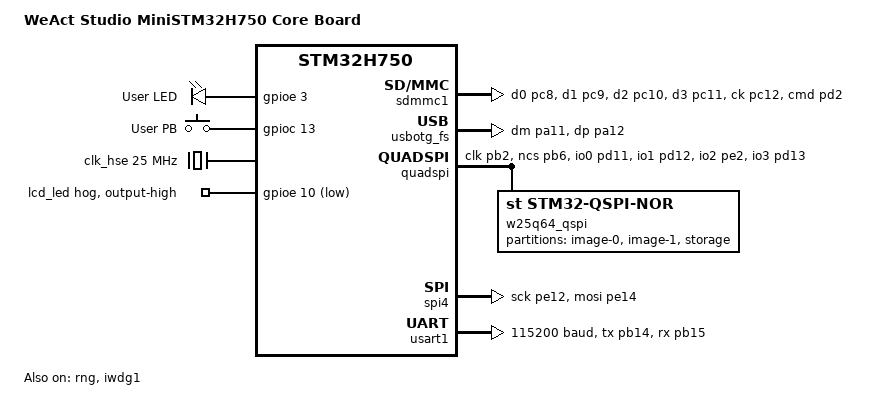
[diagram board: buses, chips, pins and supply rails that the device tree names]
/*
 * Copyright (c) 2024 Charles Dias <charlesdias.cd@outlook.com>
 *
 * SPDX-License-Identifier: Apache-2.0
 */

/dts-v1/;
#include <st/h7/stm32h750Xb.dtsi>
#include <st/h7/stm32h750vbtx-pinctrl.dtsi>
#include <zephyr/dt-bindings/input/input-event-codes.h>
#include <zephyr/dt-bindings/mipi_dbi/mipi_dbi.h>

/ {
	model = "WeAct Studio MiniSTM32H750 Core Board";
	compatible = "weact,mini-stm32h750";

	chosen {
		zephyr,console = &usart1;
		zephyr,shell-uart = &usart1;
		zephyr,sram = &sram0;
		zephyr,flash = &flash0;
		zephyr,flash-controller = &slot0_partition;
	};

	leds {
		compatible = "gpio-leds";
		user_led: led {
			gpios = <&gpioe 3 GPIO_ACTIVE_HIGH>;
			label = "User LED";
		};
	};

	gpio_keys {
		compatible = "gpio-keys";
		user_button: button {
			label = "User PB";
			gpios = <&gpioc 13 (GPIO_ACTIVE_HIGH | GPIO_PULL_DOWN)>;
			zephyr,code = <INPUT_KEY_0>;
		};
	};

	aliases {
		led0 = &user_led;
		sw0 = &user_button;
		watchdog0 = &iwdg;
		sdhc0 = &sdmmc1;
	};
};

&clk_lsi {
	status = "okay";
};

&clk_hsi48 {
	status = "okay";
};

&clk_hse {
	clock-frequency = <DT_FREQ_M(25)>;
	status = "okay";
};

&pll {
	div-m = <5>;
	mul-n = <96>;
	div-p = <2>;
	div-q = <10>;
	div-r = <2>;
	clocks = <&clk_hse>;
	status = "okay";
};

&rcc {
	clocks = <&pll>;
	clock-frequency = <DT_FREQ_M(240)>;
	d1cpre = <1>;
	hpre = <2>;
	d1ppre = <1>;
	d2ppre1 = <1>;
	d2ppre2 = <1>;
	d3ppre = <1>;
};

&sdmmc1 {
	pinctrl-0 = <&sdmmc1_d0_pc8 &sdmmc1_d1_pc9
		     &sdmmc1_d2_pc10 &sdmmc1_d3_pc11
		     &sdmmc1_ck_pc12 &sdmmc1_cmd_pd2>;
	pinctrl-names = "default";
	cd-gpios = <&gpiod 4 (GPIO_ACTIVE_HIGH | GPIO_PULL_UP)>;
	status = "okay";
};

zephyr_udc0: &usbotg_fs {
	pinctrl-0 = <&usb_otg_fs_dm_pa11 &usb_otg_fs_dp_pa12>;
	pinctrl-names = "default";
	status = "okay";

	usb_cdc_acm_uart: cdc_acm_uart {
		compatible = "zephyr,cdc-acm-uart";
	};
};

&quadspi {
	pinctrl-names = "default";
	pinctrl-0 = <&quadspi_clk_pb2 &quadspi_bk1_ncs_pb6
		&quadspi_bk1_io0_pd11 &quadspi_bk1_io1_pd12
		&quadspi_bk1_io2_pe2 &quadspi_bk1_io3_pd13>;
	flash-id = <1>;
	status = "okay";

	w25q64_qspi: qspi-nor-flash@90000000 {
		compatible = "st,stm32-qspi-nor";
		reg = <0x90000000 DT_SIZE_M(8)>; /* 64 Mbits */
		qspi-max-frequency = <72000000>;
		status = "okay";
		spi-bus-width = <4>;
		//writeoc = "PP_1_1_4";

		partitions {
			compatible = "fixed-partitions";
			#address-cells = <1>;
			#size-cells = <1>;
			slot0_partition: partition@0 {
				label = "image-0";
				reg = <0x00000000 DT_SIZE_M(2)>;
			};
			slot1_partition: partition@200000 {
				label = "image-1";
				reg = <0x00200000 DT_SIZE_M(2)>;
			};
			storage_partition: partition@400000 {
				label = "storage";
				reg = <0x00400000 DT_SIZE_M(2)>;
			};
		};
	};
};

&gpioe {
	status = "okay";

	lcd_led {
		gpio-hog;
		gpios = <10 GPIO_ACTIVE_LOW>;
		output-high;
	};
};

&spi4 {
	pinctrl-0 = <&spi4_sck_pe12 &spi4_mosi_pe14>;
	cs-gpios = <&gpioe 11 GPIO_ACTIVE_LOW>;
	pinctrl-names = "default";
	status = "okay";
};

&rng {
	status = "okay";
};

&backup_sram {
	status = "okay";
};

&flash0 {
	partitions {
		compatible = "fixed-partitions";
		#address-cells = <1>;
		#size-cells = <1>;
		/* 128KB for bootloader */
		boot_partition: partition@0 {
			label = "mcuboot";
			reg = <0x00000000 DT_SIZE_K(128)>;
		};
	};
};

&iwdg1 {
	status = "okay";
};

&usart1 {
	pinctrl-0 = <&usart1_tx_pb14 &usart1_rx_pb15>;
	pinctrl-names = "default";
	current-speed = <115200>;
	status = "okay";
};
